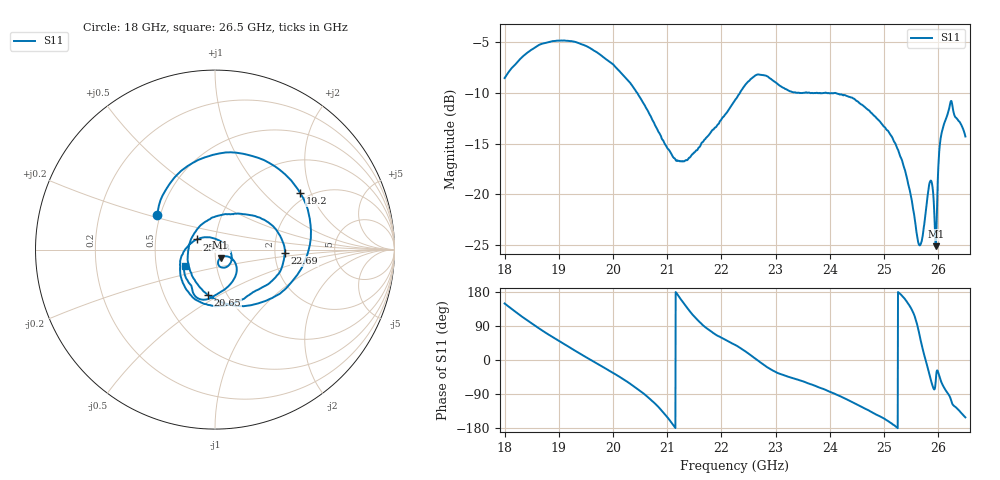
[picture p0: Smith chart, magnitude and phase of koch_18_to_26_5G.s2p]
!Keysight Technologies,N5222B,MY60213399,A.14.00.23
!Date: Tuesday, February 27, 2024 20:50:35
!Correction: S11(C  1-Port  )
!S21(Off)
!S12(Off)
!S22(Off)
!S2P File: Measurement: :
# Hz S  dB  R 50
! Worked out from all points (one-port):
!   1601 points, 18 GHz to 26.5 GHz, reference 50 ohm
!   lowest |S11| = -25.1 dB at 25.95 GHz (marker M1), VSWR 1.12, Z = 53 - j4.87 ohm
!   |S11| at or under -10 dB: 20.45 GHz to 22.34 GHz (1.896 GHz wide, 8.86 % of centre); 23.76 GHz to 23.91 GHz (142.5 MHz wide, 0.598 % of centre); 23.94 GHz to end of sweep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
!   S11 on the Smith chart (normalised r, x): 18 GHz: 0.48, +0.21; 19.2 GHz: 1.79, +1.68; 20.65 GHz: 0.82, -0.44; 22.69 GHz: 2.27, -0.10; 25.43 GHz: 0.81, +0.09; 26.5 GHz: 0.70, -0.13
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1.8e10  -8.54 149.2  -200.00 45.0  -200.00 45.0  -200.00 45.0
1.827094e10  -6.75 119.7  -200.00 45.0  -200.00 45.0  -200.00 45.0
1.862156e10  -5.32 84.7  -200.00 45.0  -200.00 45.0  -200.00 45.0
1.919531e10  -4.89 33.7  -200.00 45.0  -200.00 45.0  -200.00 45.0
1.941844e10  -5.20 14.3  -200.00 45.0  -200.00 45.0  -200.00 45.0
2.004531e10  -7.45 -37.9  -200.00 45.0  -200.00 45.0  -200.00 45.0
2.064562e10  -11.81 -98.6  -200.00 45.0  -200.00 45.0  -200.00 45.0
2.083688e10  -13.85 -123.9  -200.00 45.0  -200.00 45.0  -200.00 45.0
2.133625e10  -16.66 143.6  -200.00 45.0  -200.00 45.0  -200.00 45.0
2.225e10  -10.72 40.0  -200.00 45.0  -200.00 45.0  -200.00 45.0
2.268562e10  -8.19 -2.8  -200.00 45.0  -200.00 45.0  -200.00 45.0
2.300969e10  -9.00 -32.6  -200.00 45.0  -200.00 45.0  -200.00 45.0
2.366844e10  -10.01 -65.0  -200.00 45.0  -200.00 45.0  -200.00 45.0
2.430594e10  -10.30 -103.5  -200.00 45.0  -200.00 45.0  -200.00 45.0
2.508688e10  -13.86 -162.8  -200.00 45.0  -200.00 45.0  -200.00 45.0
2.543219e10  -18.66 150.9  -200.00 45.0  -200.00 45.0  -200.00 45.0
2.565e10  -25.01 68.5  -200.00 45.0  -200.00 45.0  -200.00 45.0
2.584656e10  -18.78 -43.8  -200.00 45.0  -200.00 45.0  -200.00 45.0
2.595281e10  -25.13 -55.7  -200.00 45.0  -200.00 45.0  -200.00 45.0
2.604844e10  -14.33 -55.5  -200.00 45.0  -200.00 45.0  -200.00 45.0
2.620781e10  -11.35 -95.2  -200.00 45.0  -200.00 45.0  -200.00 45.0
2.65e10  -14.31 -151.4  -200.00 45.0  -200.00 45.0  -200.00 45.0
